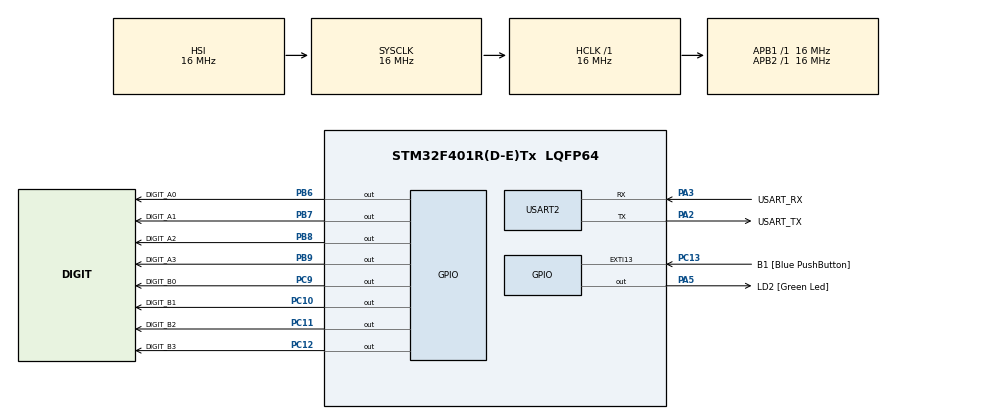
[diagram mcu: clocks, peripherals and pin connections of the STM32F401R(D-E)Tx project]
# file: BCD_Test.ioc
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Mcu.Family=STM32F4
Mcu.Name=STM32F401R(D-E)Tx
Mcu.Package=LQFP64
NVIC.PriorityGroup=NVIC_PRIORITYGROUP_4
PA13.GPIO_Label=TMS
PA13.Mode=Trace_Asynchronous_SW
PA13.Signal=SYS_JTMS-SWDIO
PA14.GPIO_Label=TCK
PA14.Mode=Trace_Asynchronous_SW
PA14.Signal=SYS_JTCK-SWCLK
PA2.GPIO_Label=USART_TX
PA2.GPIO_Mode=GPIO_MODE_AF_PP
PA2.GPIO_PuPd=GPIO_NOPULL
PA2.GPIO_Speed=GPIO_SPEED_FREQ_LOW
PA2.Mode=Asynchronous
PA2.Signal=USART2_TX
PA3.GPIO_Label=USART_RX
PA3.GPIO_Mode=GPIO_MODE_AF_PP
PA3.GPIO_PuPd=GPIO_NOPULL
PA3.GPIO_Speed=GPIO_SPEED_FREQ_LOW
PA3.Mode=Asynchronous
PA3.Signal=USART2_RX
PA5.GPIO_Label=LD2 [Green Led]
PA5.GPIO_Mode=GPIO_MODE_OUTPUT_PP
PA5.GPIO_PuPd=GPIO_NOPULL
PA5.GPIO_Speed=GPIO_SPEED_FREQ_LOW
PA5.Signal=GPIO_Output
PB3.GPIO_Label=SWO
PB3.Mode=Trace_Asynchronous_SW
PB3.Signal=SYS_JTDO-SWO
PB6.GPIO_Label=DIGIT_A0
PB6.Signal=GPIO_Output
PB7.GPIO_Label=DIGIT_A1
PB7.Signal=GPIO_Output
PB8.GPIO_Label=DIGIT_A2
PB8.Signal=GPIO_Output
PB9.GPIO_Label=DIGIT_A3
PB9.Signal=GPIO_Output
PC10.GPIO_Label=DIGIT_B1
PC10.Signal=GPIO_Output
PC11.GPIO_Label=DIGIT_B2
PC11.Signal=GPIO_Output
PC12.GPIO_Label=DIGIT_B3
PC12.Signal=GPIO_Output
PC13-ANTI_TAMP.GPIO_Label=B1 [Blue PushButton]
PC13-ANTI_TAMP.GPIO_ModeDefaultEXTI=GPIO_MODE_IT_FALLING
PC13-ANTI_TAMP.GPIO_PuPd=GPIO_NOPULL
PC13-ANTI_TAMP.Signal=GPXTI13
PC14-OSC32_IN.Mode=LSE-External-Oscillator
PC14-OSC32_IN.Signal=RCC_OSC32_IN
PC15-OSC32_OUT.Mode=LSE-External-Oscillator
PC15-OSC32_OUT.Signal=RCC_OSC32_OUT
PC9.GPIO_Label=DIGIT_B0
PC9.Signal=GPIO_Output
PH0\ -\ OSC_IN.Mode=HSE-External-Clock-Source
PH0\ -\ OSC_IN.Signal=RCC_OSC_IN
PH1\ -\ OSC_OUT.Mode=HSE-External-Clock-Source
PH1\ -\ OSC_OUT.Signal=RCC_OSC_OUT
ProjectManager.HeapSize=0x200
ProjectManager.StackSize=0x400
ProjectManager.TargetToolchain=STM32CubeIDE
RCC.48MHZClocksFreq_Value=48000000
RCC.AHBFreq_Value=16000000
RCC.APB1Freq_Value=16000000
RCC.APB1TimFreq_Value=16000000
RCC.APB2Freq_Value=16000000
RCC.APB2TimFreq_Value=16000000
RCC.CortexFreq_Value=16000000
RCC.HCLKFreq_Value=16000000
RCC.HSE_VALUE=8000000
RCC.HSI_VALUE=16000000
RCC.PLLN=336
RCC.PLLP=RCC_PLLP_DIV4
RCC.PLLQ=7
RCC.SYSCLKFreq_VALUE=16000000
RCC.VCOOutputFreq_Value=336000000
USART2.VirtualMode=VM_ASYNC
board=NUCLEO-F401RE

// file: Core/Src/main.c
/* USER CODE BEGIN Header */
/**
  ******************************************************************************
  * @file           : main.c
  * @brief          : Main program body
  ******************************************************************************
  * @attention
  *
  * Copyright (c) 2026 STMicroelectronics.
  * All rights reserved.
  *
  * This software is licensed under terms that can be found in the LICENSE file
  * in the root directory of this software component.
  * If no LICENSE file comes with this software, it is provided AS-IS.
  *
  ******************************************************************************
  */
/* USER CODE END Header */
#include "main.h"

UART_HandleTypeDef huart2;

/* USER CODE BEGIN PV */
uint8_t bcd_count = 0;
/* USER CODE END PV */

void SystemClock_Config(void);
static void MX_GPIO_Init(void);
static void MX_USART2_UART_Init(void);
/* USER CODE BEGIN PFP */
void write_bcd_digits(uint8_t tens, uint8_t ones);
/* USER CODE END PFP */

int main(void)
{

  /* MCU Configuration--------------------------------------------------------*/

  /* Reset of all peripherals, Initializes the Flash interface and the Systick. */
  HAL_Init();

  /* Configure the system clock */
  SystemClock_Config();

  /* Initialize all configured peripherals */
  MX_GPIO_Init();
  MX_USART2_UART_Init();

  /* Infinite loop */
  /* USER CODE BEGIN WHILE */
  while (1)
  {
	  uint8_t tens = bcd_count / 10;
	  uint8_t ones = bcd_count % 10;

	  write_bcd_digits(tens, ones);

	  bcd_count++;
	  if (bcd_count > 99) bcd_count = 0;

	  HAL_Delay(500);
    /* USER CODE END WHILE */

  }
}

void SystemClock_Config(void)
{
  RCC_OscInitTypeDef RCC_OscInitStruct = {0};
  RCC_ClkInitTypeDef RCC_ClkInitStruct = {0};

  /** Configure the main internal regulator output voltage
  */
  __HAL_RCC_PWR_CLK_ENABLE();
  __HAL_PWR_VOLTAGESCALING_CONFIG(PWR_REGULATOR_VOLTAGE_SCALE2);

  /** Initializes the RCC Oscillators according to the specified parameters
  * in the RCC_OscInitTypeDef structure.
  */
  RCC_OscInitStruct.OscillatorType = RCC_OSCILLATORTYPE_HSI;
  RCC_OscInitStruct.HSIState = RCC_HSI_ON;
  RCC_OscInitStruct.HSICalibrationValue = RCC_HSICALIBRATION_DEFAULT;
  RCC_OscInitStruct.PLL.PLLState = RCC_PLL_NONE;
  if (HAL_RCC_OscConfig(&RCC_OscInitStruct) != HAL_OK)
  {
    Error_Handler();
  }

  /** Initializes the CPU, AHB and APB buses clocks
  */
  RCC_ClkInitStruct.ClockType = RCC_CLOCKTYPE_HCLK|RCC_CLOCKTYPE_SYSCLK
                              |RCC_CLOCKTYPE_PCLK1|RCC_CLOCKTYPE_PCLK2;
  RCC_ClkInitStruct.SYSCLKSource = RCC_SYSCLKSOURCE_HSI;
  RCC_ClkInitStruct.AHBCLKDivider = RCC_SYSCLK_DIV1;
  RCC_ClkInitStruct.APB1CLKDivider = RCC_HCLK_DIV1;
  RCC_ClkInitStruct.APB2CLKDivider = RCC_HCLK_DIV1;

  if (HAL_RCC_ClockConfig(&RCC_ClkInitStruct, FLASH_LATENCY_0) != HAL_OK)
  {
    Error_Handler();
  }
}

static void MX_USART2_UART_Init(void)
{

  huart2.Instance = USART2;
  huart2.Init.BaudRate = 115200;
  huart2.Init.WordLength = UART_WORDLENGTH_8B;
  huart2.Init.StopBits = UART_STOPBITS_1;
  huart2.Init.Parity = UART_PARITY_NONE;
  huart2.Init.Mode = UART_MODE_TX_RX;
  huart2.Init.HwFlowCtl = UART_HWCONTROL_NONE;
  huart2.Init.OverSampling = UART_OVERSAMPLING_16;
  if (HAL_UART_Init(&huart2) != HAL_OK)
  {
    Error_Handler();
  }

}

static void MX_GPIO_Init(void)
{
  GPIO_InitTypeDef GPIO_InitStruct = {0};

  /* GPIO Ports Clock Enable */
  __HAL_RCC_GPIOC_CLK_ENABLE();
  __HAL_RCC_GPIOH_CLK_ENABLE();
  __HAL_RCC_GPIOA_CLK_ENABLE();
  __HAL_RCC_GPIOB_CLK_ENABLE();

  /*Configure GPIO pin Output Level */
  HAL_GPIO_WritePin(LD2_GPIO_Port, LD2_Pin, GPIO_PIN_RESET);

  /*Configure GPIO pin Output Level */
  HAL_GPIO_WritePin(GPIOC, DIGIT_B0_Pin|DIGIT_B1_Pin|DIGIT_B2_Pin|DIGIT_B3_Pin, GPIO_PIN_RESET);

  /*Configure GPIO pin Output Level */
  HAL_GPIO_WritePin(GPIOB, DIGIT_A0_Pin|DIGIT_A1_Pin|DIGIT_A2_Pin|DIGIT_A3_Pin, GPIO_PIN_RESET);

  /*Configure GPIO pin : B1_Pin */
  GPIO_InitStruct.Pin = B1_Pin;
  GPIO_InitStruct.Mode = GPIO_MODE_IT_FALLING;
  GPIO_InitStruct.Pull = GPIO_NOPULL;
  HAL_GPIO_Init(B1_GPIO_Port, &GPIO_InitStruct);

  /*Configure GPIO pin : LD2_Pin */
  GPIO_InitStruct.Pin = LD2_Pin;
  GPIO_InitStruct.Mode = GPIO_MODE_OUTPUT_PP;
  GPIO_InitStruct.Pull = GPIO_NOPULL;
  GPIO_InitStruct.Speed = GPIO_SPEED_FREQ_LOW;
  HAL_GPIO_Init(LD2_GPIO_Port, &GPIO_InitStruct);

  /*Configure GPIO pins : DIGIT_B0_Pin DIGIT_B1_Pin DIGIT_B2_Pin DIGIT_B3_Pin */
  GPIO_InitStruct.Pin = DIGIT_B0_Pin|DIGIT_B1_Pin|DIGIT_B2_Pin|DIGIT_B3_Pin;
  GPIO_InitStruct.Mode = GPIO_MODE_OUTPUT_PP;
  GPIO_InitStruct.Pull = GPIO_NOPULL;
  GPIO_InitStruct.Speed = GPIO_SPEED_FREQ_LOW;
  HAL_GPIO_Init(GPIOC, &GPIO_InitStruct);

  /*Configure GPIO pins : DIGIT_A0_Pin DIGIT_A1_Pin DIGIT_A2_Pin DIGIT_A3_Pin */
  GPIO_InitStruct.Pin = DIGIT_A0_Pin|DIGIT_A1_Pin|DIGIT_A2_Pin|DIGIT_A3_Pin;
  GPIO_InitStruct.Mode = GPIO_MODE_OUTPUT_PP;
  GPIO_InitStruct.Pull = GPIO_NOPULL;
  GPIO_InitStruct.Speed = GPIO_SPEED_FREQ_LOW;
  HAL_GPIO_Init(GPIOB, &GPIO_InitStruct);

}

/* USER CODE BEGIN 4 */
void write_bcd_digits(uint8_t tens, uint8_t ones)
{
    HAL_GPIO_WritePin(DIGIT_A0_GPIO_Port, DIGIT_A0_Pin, (tens >> 0) & 1);
    HAL_GPIO_WritePin(DIGIT_A1_GPIO_Port, DIGIT_A1_Pin, (tens >> 1) & 1);
    HAL_GPIO_WritePin(DIGIT_A2_GPIO_Port, DIGIT_A2_Pin, (tens >> 2) & 1);
    HAL_GPIO_WritePin(DIGIT_A3_GPIO_Port, DIGIT_A3_Pin, (tens >> 3) & 1);

    HAL_GPIO_WritePin(DIGIT_B0_GPIO_Port, DIGIT_B0_Pin, (ones >> 0) & 1);
    HAL_GPIO_WritePin(DIGIT_B1_GPIO_Port, DIGIT_B1_Pin, (ones >> 1) & 1);
    HAL_GPIO_WritePin(DIGIT_B2_GPIO_Port, DIGIT_B2_Pin, (ones >> 2) & 1);
    HAL_GPIO_WritePin(DIGIT_B3_GPIO_Port, DIGIT_B3_Pin, (ones >> 3) & 1);
}
/* USER CODE END 4 */

void Error_Handler(void)
{
  __disable_irq();
  while (1)
  {
  }
}
